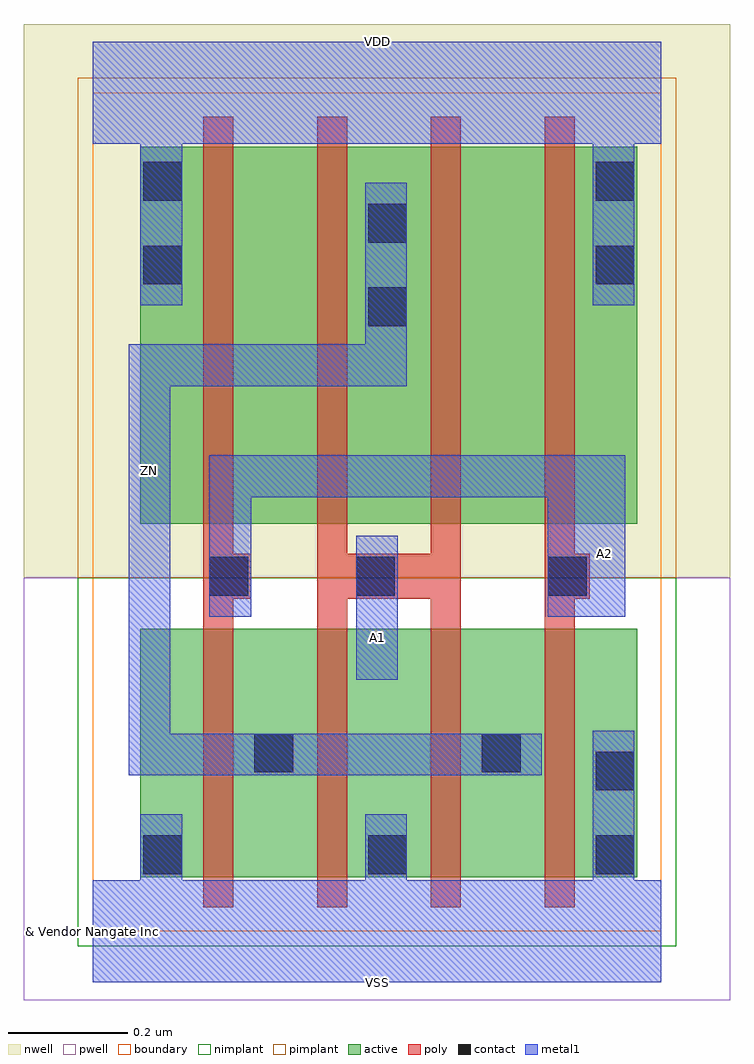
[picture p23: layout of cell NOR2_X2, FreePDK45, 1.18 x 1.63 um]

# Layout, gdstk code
import gdstk
lib = gdstk.Library(unit=1e-6, precision=1e-10)
def R(c, l, rs):  # rectangles x0, y0, x1, y1
    for r in rs: c.add(gdstk.rectangle(r[:2], r[2:], *l))
def P(c, l, *ps):  # polygons
    for p in ps: c.add(gdstk.Polygon(p, *l))
active = (1, 0)
pwell = (2, 0)
nwell = (3, 0)
nimplant = (4, 0)
pimplant = (5, 0)
poly = (9, 0)
contact = (10, 0)
metal1 = (11, 0)
boundary = (235, 0)

nor2_x2 = lib.new_cell('NOR2_X2')
R(nor2_x2, active, [(0.08,0.09,0.91,0.505), (0.08,0.68,0.91,1.31)])
R(nor2_x2, pwell, [(-0.115,-0.115,1.065,0.59)])
R(nor2_x2, nwell, [(-0.115,0.59,1.065,1.515)])
R(nor2_x2, nimplant, [(-0.025,-0.025,0.975,0.59)])
R(nor2_x2, pimplant, [(-0.025,0.59,0.975,1.425)])
P(nor2_x2, poly, [(0.185,0.04),(0.185,1.36),(0.235,1.36),(0.235,0.63),(0.265,0.63),(0.265,0.555),(0.235,0.555),(0.235,0.04)],
  [(0.375,0.04),(0.375,1.36),(0.425,1.36),(0.425,0.63),(0.565,0.63),(0.565,1.36),(0.615,1.36),(0.615,0.04),(0.565,0.04),(0.565,0.555),(0.425,0.555),(0.425,0.04)],
  [(0.755,0.04),(0.755,1.36),(0.805,1.36),(0.805,0.63),(0.83,0.63),(0.83,0.555),(0.805,0.555),(0.805,0.04)])
R(nor2_x2, contact, [(0.085,0.095,0.15,0.16), (0.46,0.095,0.525,0.16), (0.84,0.095,0.905,0.16), (0.84,0.235,0.905,0.3), (0.27,0.265,0.335,0.33), (0.65,0.265,0.715,0.33), (0.195,0.56,0.26,0.625), (0.44,0.56,0.505,0.625), (0.76,0.56,0.825,0.625), (0.46,1.01,0.525,1.075), (0.085,1.08,0.15,1.145), (0.84,1.08,0.905,1.145), (0.46,1.15,0.525,1.215), (0.085,1.22,0.15,1.285), (0.84,1.22,0.905,1.285)])
R(nor2_x2, metal1, [(0.44,0.42,0.51,0.66)])
P(nor2_x2, metal1, [(0.06,0.26),(0.06,0.98),(0.455,0.98),(0.455,1.25),(0.525,1.25),(0.525,0.91),(0.13,0.91),(0.13,0.33),(0.75,0.33),(0.75,0.26)],
  [(0.195,0.525),(0.195,0.795),(0.89,0.795),(0.89,0.525),(0.76,0.525),(0.76,0.725),(0.265,0.725),(0.265,0.525)],
  [(0,-0.085),(0,0.085),(0.08,0.085),(0.08,0.195),(0.15,0.195),(0.15,0.085),(0.455,0.085),(0.455,0.195),(0.525,0.195),(0.525,0.085),(0.835,0.085),(0.835,0.335),(0.905,0.335),(0.905,0.085),(0.95,0.085),(0.95,-0.085)],
  [(0.08,1.045),(0.08,1.315),(0,1.315),(0,1.485),(0.95,1.485),(0.95,1.315),(0.905,1.315),(0.905,1.045),(0.835,1.045),(0.835,1.315),(0.15,1.315),(0.15,1.045)])
R(nor2_x2, boundary, [(0,0,0.95,1.4)])
nor2_x2.add(gdstk.Label('A1', (0.475,0.49), layer=11, texttype=0))
nor2_x2.add(gdstk.Label('A2', (0.855,0.63), layer=11, texttype=0))
nor2_x2.add(gdstk.Label('VDD', (0.475,1.485), layer=11, texttype=0))
nor2_x2.add(gdstk.Label('VSS', (0.475,-0.085), layer=11, texttype=0))
nor2_x2.add(gdstk.Label('ZN', (0.095,0.77), layer=11, texttype=0))
nor2_x2.add(gdstk.Label('& Vendor Nangate Inc', (0,0), layer=63, texttype=63))
nor2_x2.add(gdstk.Label('& Product Open Cell Library', (0,0), layer=63, texttype=63))
nor2_x2.add(gdstk.Label('& Version 2010_12', (0,0), layer=63, texttype=63))
nor2_x2.add(gdstk.Label('& Instance NOR2_X2', (0,0), layer=63, texttype=63))

lib.write_gds('NOR2_X2.gds')
